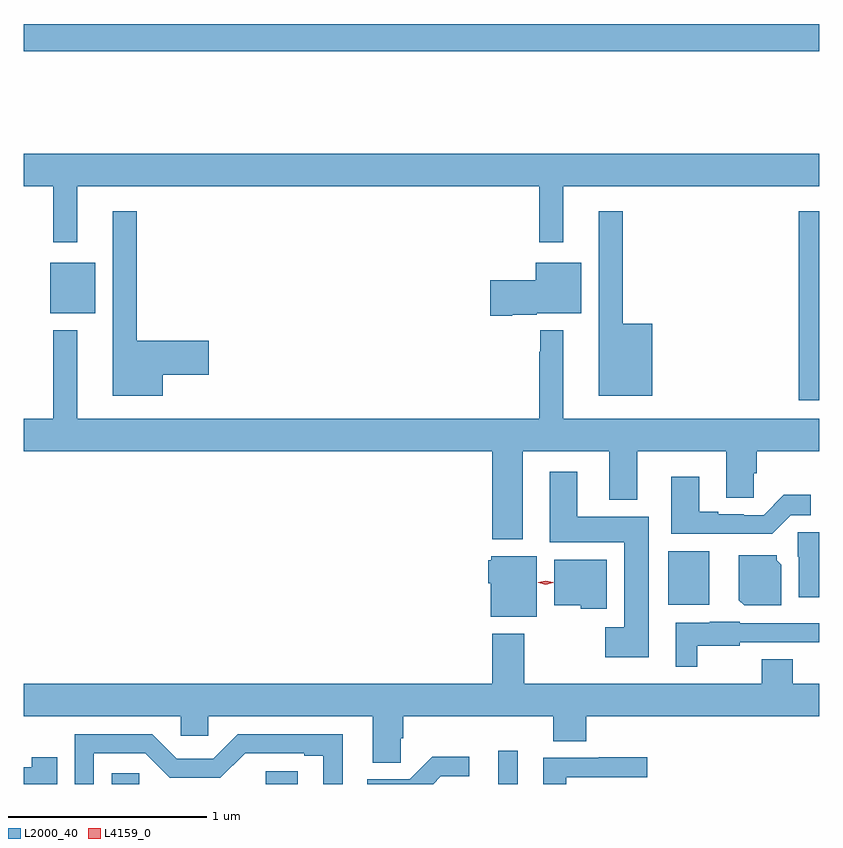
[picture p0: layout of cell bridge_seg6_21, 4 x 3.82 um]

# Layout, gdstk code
import gdstk
lib = gdstk.Library(unit=1e-6, precision=1e-09)
def R(c, l, rs):  # rectangles x0, y0, x1, y1
    for r in rs: c.add(gdstk.rectangle(r[:2], r[2:], *l))
def P(c, l, *ps):  # polygons
    for p in ps: c.add(gdstk.Polygon(p, *l))
L2000_40 = (2000, 40)
L4159_0 = (4159, 0)

bridge_seg6_21 = lib.new_cell('bridge_seg6_21')
R(bridge_seg6_21, L2000_40, [(997.727,946.996,997.866,947.049), (998.502,946.996,998.662,947.059), (999.672,946.996,999.768,947.164), (1000.526,947.897,1000.732,948.166), (1001.18,948.924,1001.285,949.876), (997.418,949.361,997.645,949.615), (997.285,950.68,1001.285,950.816)])
P(bridge_seg6_21, L2000_40, [(997.555,950),(999.876,950),(999.876,949.719),(999.997,949.719),(999.997,950),(1001.285,950),(1001.285,950.164),(997.285,950.164),(997.285,950),(997.434,950),(997.434,949.719),(997.555,949.719)],
  [(1000.444,949.309),(1000.297,949.309),(1000.297,949.876),(1000.175,949.876),(1000.175,948.947),(1000.444,948.947)],
  [(997.984,949.052),(998.215,949.052),(998.215,949.223),(997.855,949.223),(997.855,949.876),(997.733,949.876),(997.733,948.947),(997.984,948.947)],
  [(999.742,949.355),(999.864,949.355),(999.864,949.361),(1000.087,949.361),(1000.087,949.615),(999.86,949.615),(999.86,949.527),(999.63,949.527),(999.63,949.349),(999.742,949.349)],
  [(997.555,949.276),(997.434,949.276),(997.434,948.832),(997.285,948.832),(997.285,948.668),(999.641,948.668),(999.641,948.227),(999.793,948.227),(999.793,948.668),(1000.229,948.668),(1000.229,948.425),(1000.369,948.425),(1000.369,948.668),(1000.817,948.668),(1000.817,948.436),(1000.956,948.436),(1000.956,948.558),(1000.97,948.558),(1000.97,948.668),(1001.285,948.668),(1001.285,948.832),(999.997,948.832),(999.997,949.276),(999.883,949.276),(999.883,949.169),(999.876,949.169),(999.876,948.832),(997.555,948.832)],
  [(1000.426,948.34),(1000.069,948.34),(1000.069,948.565),(999.929,948.565),(999.929,948.212),(1000.304,948.212),(1000.304,947.785),(1000.209,947.785),(1000.209,947.633),(1000.426,947.633)],
  [(1001.142,948.348),(1001.242,948.348),(1001.242,948.451),(1001.107,948.451),(1001.004,948.348),(1000.904,948.348),(1000.904,948.351),(1000.777,948.351),(1000.777,948.364),(1000.681,948.364),(1000.681,948.541),(1000.541,948.541),(1000.541,948.254),(1001.048,948.254)],
  [(1001.285,948.261),(1001.176,948.261),(1001.176,948.138),(1001.18,948.138),(1001.18,947.934),(1001.285,947.934)],
  [(1001.092,948.098),(1001.07,948.12),(1001.07,948.145),(1000.88,948.145),(1000.88,947.92),(1000.906,947.894),(1001.092,947.894)],
  [(999.865,948.142),(999.636,948.142),(999.636,948.12),(999.62,948.12),(999.62,948.006),(999.632,948.006),(999.632,947.837),(999.865,947.837)],
  [(1000.216,948.124),(999.953,948.124),(999.953,947.894),(1000.086,947.894),(1000.086,947.876),(1000.216,947.876)],
  [(1000.672,947.69),(1000.884,947.69),(1000.884,947.709),(1001.285,947.709),(1001.285,947.805),(1000.884,947.805),(1000.884,947.812),(1000.734,947.812),(1000.734,947.806),(1000.562,947.806),(1000.562,947.585),(1000.672,947.585)],
  [(999.18,947.227),(999.194,947.227),(999.194,947.336),(999.947,947.336),(999.947,947.212),(1000.112,947.212),(1000.112,947.336),(1001.285,947.336),(1001.285,947.5),(1001.151,947.5),(1001.151,947.624),(1000.996,947.624),(1000.996,947.5),(999.801,947.5),(999.801,947.752),(999.641,947.752),(999.641,947.5),(997.285,947.5),(997.285,947.336),(998.076,947.336),(998.076,947.238),(998.214,947.238),(998.214,947.336),(999.041,947.336),(999.041,947.104),(999.18,947.104)],
  [(997.638,947.151),(997.896,947.151),(998.02,947.027),(998.274,947.027),(998.398,947.151),(998.696,947.151),(998.696,947.139),(998.792,947.139),(998.792,946.996),(998.889,946.996),(998.889,947.247),(998.361,947.247),(998.238,947.124),(998.055,947.124),(997.932,947.247),(997.542,947.247),(997.542,946.996),(997.638,946.996)],
  [(999.381,947.034),(999.526,947.034),(999.526,947.132),(999.338,947.132),(999.225,947.019),(999.012,947.019),(999.012,946.996),(999.343,946.996)],
  [(1000.013,947.03),(1000.42,947.03),(1000.42,947.131),(1000.175,947.131),(1000.175,947.127),(999.897,947.127),(999.897,946.996),(1000.013,946.996)],
  [(997.453,947.131),(997.325,947.131),(997.325,947.08),(997.285,947.08),(997.285,946.996),(997.453,946.996)])
P(bridge_seg6_21, L4159_0, [(999.91,947.998),(999.872,948.008),(999.872,948.008),(999.872,948.009),(999.91,948.018),(999.948,948.009),(999.948,948.008),(999.948,948.008)])

lib.write_gds('bridge_seg6_21.gds')
